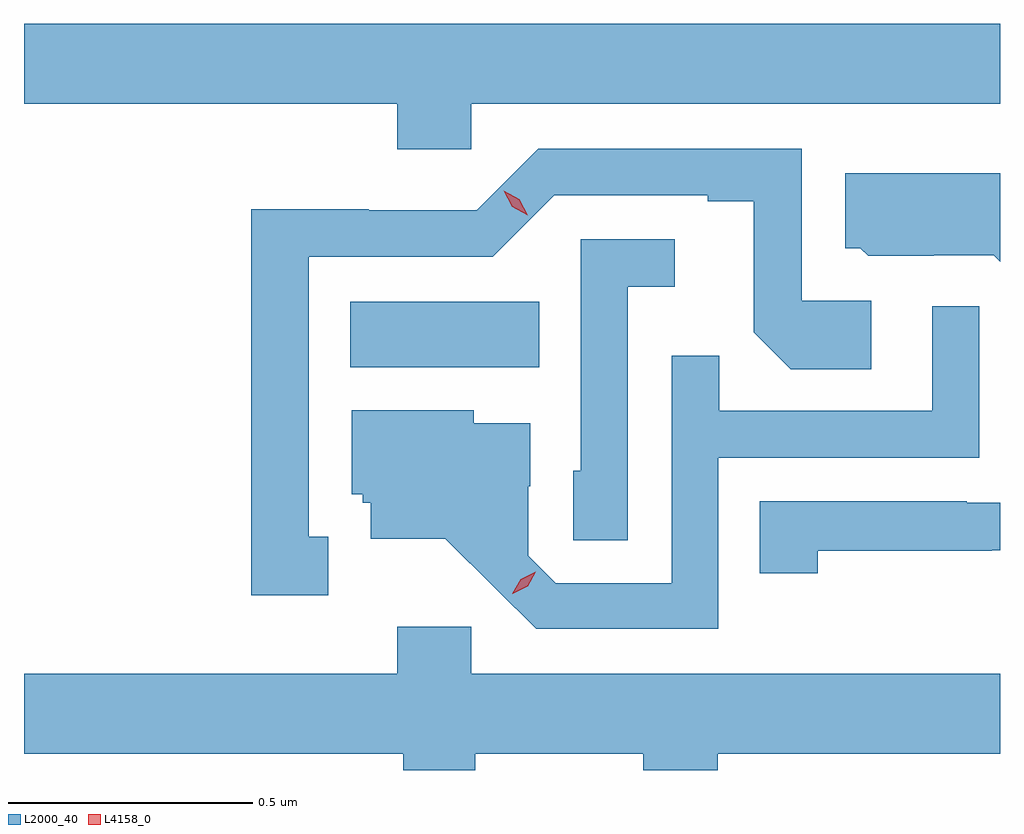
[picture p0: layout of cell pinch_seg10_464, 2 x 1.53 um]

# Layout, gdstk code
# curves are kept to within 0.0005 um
import gdstk
lib = gdstk.Library(unit=1e-6, precision=1e-09)
def R(c, l, rs):  # rectangles x0, y0, x1, y1
    for r in rs: c.add(gdstk.rectangle(r[:2], r[2:], *l))
def P(c, l, *ps):  # polygons
    for p in ps: c.add(gdstk.Polygon(p, *l))
L2000_40 = (2000, 40)
L4158_0 = (4158, 0)

pinch_seg10_464 = lib.new_cell('pinch_seg10_464')
R(pinch_seg10_464, L2000_40, [(358.925,1306.436,359.312,1306.57)])
P(pinch_seg10_464, L2000_40, [(359.172,1306.976),(360.256,1306.976),(360.256,1307.14),(358.256,1307.14),(358.256,1306.976),(359.021,1306.976),(359.021,1306.883),(359.172,1306.883)],
  [(358.879,1306.089),(358.84,1306.089),(358.84,1306.662),(359.217,1306.662),(359.343,1306.788),(359.657,1306.788),(359.657,1306.776),(359.751,1306.776),(359.751,1306.508),(359.827,1306.432),(359.992,1306.432),(359.992,1306.572),(359.85,1306.572),(359.85,1306.884),(359.31,1306.884),(359.184,1306.758),(358.962,1306.758),(358.962,1306.76),(358.722,1306.76),(358.722,1305.969),(358.879,1305.969)],
  [(360.256,1306.834),(359.939,1306.834),(359.939,1306.68),(359.97,1306.68),(359.986,1306.664),(360.12,1306.664),(360.12,1306.665),(360.243,1306.665),(360.256,1306.652)],
  [(359.493,1306.601),(359.59,1306.601),(359.59,1306.698),(359.397,1306.698),(359.397,1306.224),(359.382,1306.224),(359.382,1306.081),(359.493,1306.081)],
  [(359.679,1306.251),(360.213,1306.251),(360.213,1306.561),(360.117,1306.561),(360.117,1306.347),(359.681,1306.347),(359.681,1306.46),(359.583,1306.46),(359.583,1305.993),(359.346,1305.993),(359.289,1306.05),(359.289,1306.192),(359.293,1306.192),(359.293,1306.321),(359.178,1306.321),(359.178,1306.348),(358.928,1306.348),(358.928,1306.176),(358.95,1306.176),(358.95,1306.158),(358.967,1306.158),(358.967,1306.085),(359.119,1306.085),(359.306,1305.9),(359.679,1305.9)],
  [(359.883,1306.06),(360.239,1306.06),(360.239,1306.061),(360.256,1306.061),(360.256,1306.158),(360.188,1306.158),(360.188,1306.161),(359.764,1306.161),(359.764,1306.014),(359.883,1306.014)],
  [(359.021,1305.808),(358.256,1305.808),(358.256,1305.644),(359.033,1305.644),(359.033,1305.61),(359.181,1305.61),(359.181,1305.644),(359.525,1305.644),(359.525,1305.61),(359.678,1305.61),(359.678,1305.644),(360.256,1305.644),(360.256,1305.808),(359.172,1305.808),(359.172,1305.904),(359.021,1305.904)])
P(pinch_seg10_464, L4158_0, [(359.257,1305.972),(359.257,1305.972),(359.274,1306.002),(359.305,1306.017),(359.305,1306.017),(359.305,1306.017),(359.288,1305.987),(359.258,1305.972)],
  [(359.288,1306.747),(359.256,1306.765),(359.239,1306.798),(359.239,1306.798),(359.239,1306.798),(359.271,1306.78),(359.288,1306.747),(359.288,1306.747)])

lib.write_gds('pinch_seg10_464.gds')
